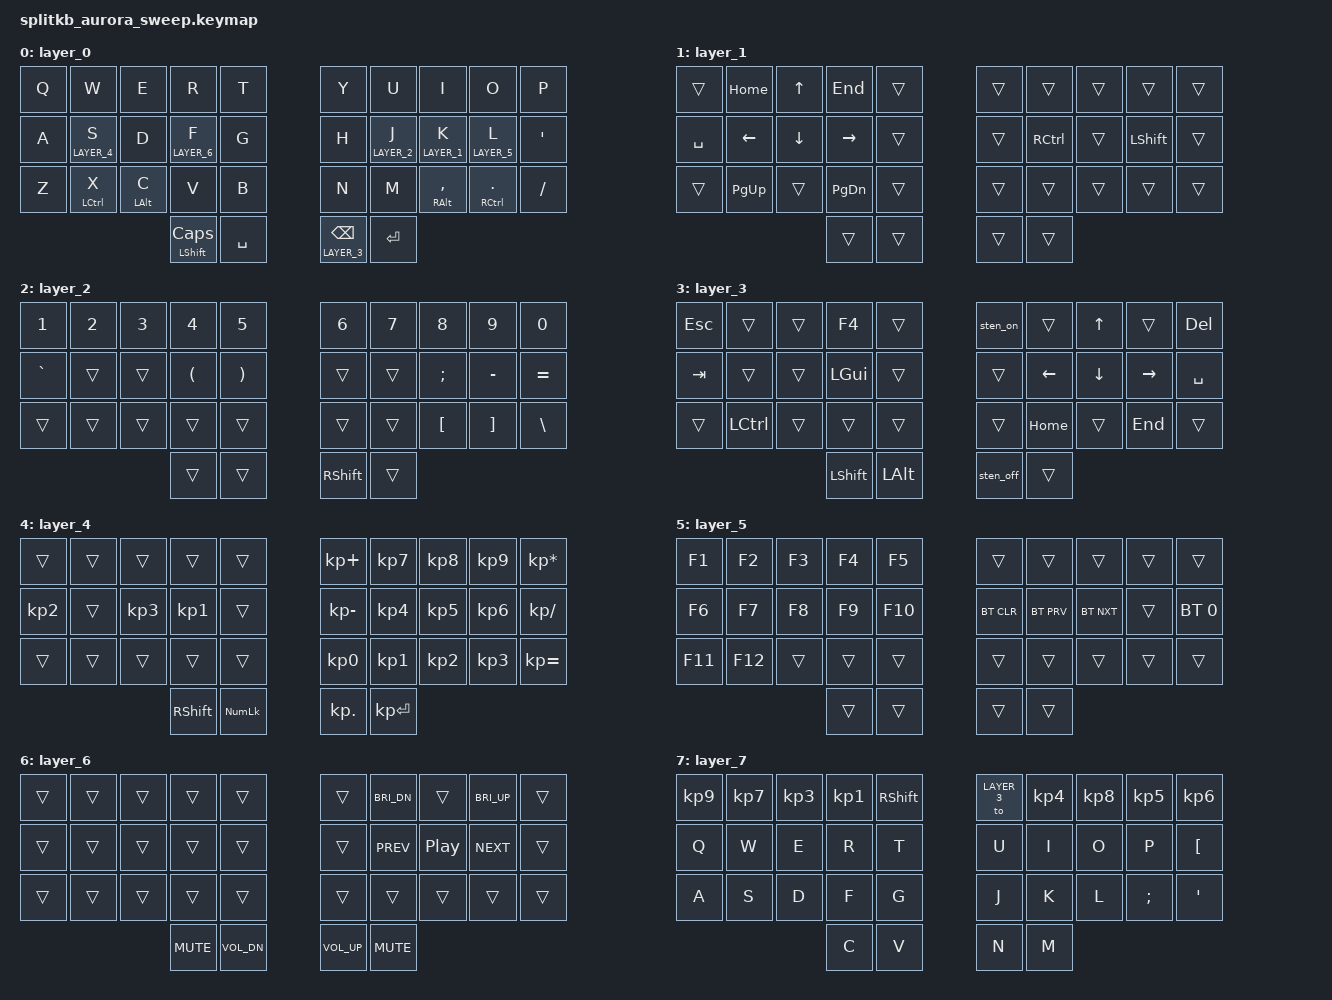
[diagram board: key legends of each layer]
/*
 * Copyright (c) 2020 The ZMK Contributors
 *
 * SPDX-License-Identifier: MIT
 */

#include <behaviors.dtsi>
#include <dt-bindings/zmk/keys.h>
#include <dt-bindings/zmk/bt.h>


#define LAYER_0 0
#define LAYER_1 1
#define LAYER_2 2
#define LAYER_3 3
#define LAYER_4 4
#define LAYER_5 5
#define LAYER_6 6
#define LAYER_7 7

&mt {
  //  flavor = "tap-preferred";
   // tapping_term_ms = <200>;
};

/ {
macros {
	sten_on: sten_on {
	compatible = "zmk,behavior-macro";
	label = "STEN_ON";
	#binding-cells = <0>;
	bindings = <&macro_tap &to LAYER_7>
		, <&macro_press &kp E &kp F &kp R &kp V &kp O &kp L>
		, <&macro_release&kp E &kp F &kp R &kp V &kp O &kp L>;
        };
    };
};

/ {
macros {
	sten_off: sten_off {
	compatible = "zmk,behavior-macro";
	label = "STEN_OFF";
	#binding-cells = <0>;
	bindings = <&macro_tap &to LAYER_0>
		, <&macro_press &kp E &kp F &kp R &kp V &kp O &kp L>
		, <&macro_release &kp E &kp F &kp R &kp V &kp O &kp L>;
        };
    };
};

/ { 
behaviors {

		ldt: layer_double_tap {
			compatible = "zmk,behavior-hold-tap";
			label = "LAYER_DOUBLE_TAP";
			#binding-cells = <2>;
			tapping-term-ms = <200>;
			quick-tap-ms = <175>;
			flavor = "tap-preferred";
			bindings = <&mo>, <&kp>;
		};
	};
	
        keymap {
                compatible = "zmk,keymap";
                
       		layer_0 {
		bindings = <
		&kp Q &kp W          &kp E          &kp R           &kp T		&kp Y &kp U          &kp I          &kp O          &kp P 
		&kp A &ldt LAYER_4 S &kp D          &ldt LAYER_6 F  &kp G	        &kp H &ldt LAYER_2 J &ldt LAYER_1 K &ldt LAYER_5 L &kp QUOT
		&kp Z &mt LCTRL X    &mt LALT C     &kp V           &kp B		&kp N &kp M          &mt RALT CMMA  &mt RCTRL DOT  &kp SLASH
          				        &mt LSHIFT CAPS &kp SPACE  		&ldt LAYER_3 BSPC &kp ENTER 
		>;
		};

       		layer_1 {
		bindings = <
		&trans    &kp HOME   &kp UP   &kp END   &trans 				&trans &trans    &trans &trans     &trans
		&kp SPACE &kp LEFT   &kp DOWN &kp RIGHT &trans 				&trans &kp RCTRL &trans &kp LSHIFT &trans 
		&trans    &kp PG_UP  &trans   &kp PG_DN &trans				&trans &trans    &trans &trans     &trans 
					      &trans    &trans 				&trans &trans  
		>;
		};
		
		layer_2 {
		bindings = <
		&kp N1    &kp N2 &kp N3 &kp N4   &kp N5					&kp N6 &kp N7 &kp N8   &kp N9    &kp N0
		&kp GRAVE &trans &trans &kp LPAR &kp RPAR				&trans &trans &kp SEMI &kp MINUS &kp EQUAL
		&trans    &trans &trans &trans   &trans		    			&trans &trans &kp LBKT &kp RBKT  &kp BSLH
				          &trans &trans					&kp RSHIFT &trans
		>;
		};	
		
		layer_3 {
		bindings = <
		&kp ESC &trans    &trans &kp F4   &trans				&sten_on  &trans   &kp UP   &trans    &kp DEL
		&kp TAB &trans    &trans &kp LGUI &trans				&trans    &kp LEFT &kp DOWN &kp RIGHT &kp SPACE
		&trans  &kp LCTRL &trans &trans   &trans		    		&trans    &kp HOME &trans   &kp END   &trans
				     &kp LSHIFT &kp LALT				&sten_off &trans 
		>;
		};
		
		layer_4 {
		bindings = <
		&trans    &trans &trans    &trans    &trans				&kp KP_PLUS  &kp KP_N7 &kp KP_N8 &kp KP_N9 &kp KP_MULTIPLY
		&kp KP_N2 &trans &kp KP_N3 &kp KP_N1 &trans				&kp KP_MINUS &kp KP_N4 &kp KP_N5 &kp KP_N6 &kp KP_DIVIDE
		&trans    &trans &trans    &trans    &trans				&kp KP_N0    &kp KP_N1 &kp KP_N2 &kp KP_N3 &kp KP_EQUAL
			     	      &kp RSHIFT &kp KP_NUM 				&kp KP_DOT   &kp KP_ENTER
		>;
		};
		
		layer_5 {
		bindings = <
		&kp F1  &kp F2  &kp F3 &kp F4 &kp F5					&trans     &trans     &trans     &trans &trans
		&kp F6  &kp F7  &kp F8 &kp F9 &kp F10					&bt BT_CLR &bt BT_PRV &bt BT_NXT &trans &bt BT_SEL 0
		&kp F11 &kp F12 &trans &trans &trans					&trans     &trans     &trans     &trans &trans
			 	       &trans &trans 					&trans     &trans
		>;
		};
		
		layer_6 {
		bindings = <
		&trans &trans &trans &trans &trans					&trans &kp C_BRI_DN &trans   &kp C_BRI_UP &trans
		&trans &trans &trans &trans &trans					&trans &kp C_PREV   &kp C_PP &kp C_NEXT   &trans
		&trans &trans &trans &trans &trans					&trans &trans       &trans   &trans       &trans
			   &kp C_MUTE &kp C_VOL_DN 					&kp C_VOL_UP &kp C_MUTE
		>;
		};
				
		layer_7 {
		bindings = < 
		&kp KP_N9 &kp KP_N7 &kp KP_N3 &kp KP_N1 &kp RSHIFT			&to LAYER_3 &kp KP_N4 &kp KP_N8 &kp KP_N5 &kp KP_N6
		&kp Q     &kp W     &kp E     &kp R     &kp T				&kp U 	    &kp I     &kp O     &kp P     &kp LBKT
		&kp A     &kp S     &kp D     &kp F     &kp G				&kp J       &kp K     &kp L     &kp SEMI  &kp QUOT
			   			  &kp C &kp V 				&kp N &kp M
		>;
		};
	};
};
